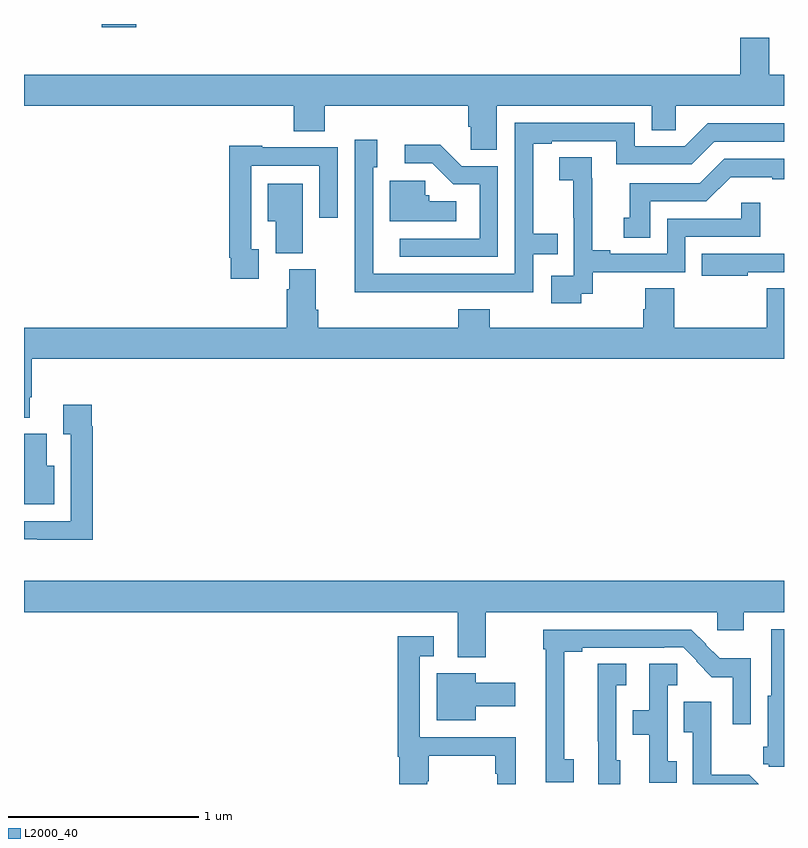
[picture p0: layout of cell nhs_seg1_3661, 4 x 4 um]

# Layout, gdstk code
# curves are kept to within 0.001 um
import gdstk
lib = gdstk.Library(unit=1e-6, precision=1e-09)
def R(c, l, rs):  # rectangles x0, y0, x1, y1
    for r in rs: c.add(gdstk.rectangle(r[:2], r[2:], *l))
def P(c, l, *ps):  # polygons
    for p in ps: c.add(gdstk.Polygon(p, *l))
L2000_40 = (2000, 40)

nhs_seg1_3661 = lib.new_cell('nhs_seg1_3661')
R(nhs_seg1_3661, L2000_40, [(311.408,516.183,311.591,516.199)])
P(nhs_seg1_3661, L2000_40, [(313.489,515.768),(314.303,515.768),(314.303,515.641),(314.43,515.641),(314.43,515.768),(315,515.768),(315,515.932),(314.923,515.932),(314.923,516.127),(314.771,516.127),(314.771,515.932),(311,515.932),(311,515.768),(312.419,515.768),(312.419,515.635),(312.584,515.635),(312.584,515.768),(313.337,515.768),(313.337,515.659),(313.35,515.659),(313.35,515.536),(313.489,515.536)],
  [(313.202,514.788),(313.68,514.788),(313.68,514.986),(313.808,514.986),(313.808,515.095),(313.681,515.095),(313.681,515.568),(313.777,515.568),(313.777,515.583),(314.118,515.583),(314.118,515.46),(314.514,515.46),(314.634,515.58),(315,515.58),(315,515.676),(314.598,515.676),(314.478,515.556),(314.214,515.556),(314.214,515.679),(313.584,515.679),(313.584,514.884),(312.837,514.884),(312.837,515.445),(312.859,515.445),(312.859,515.59),(312.741,515.59),(312.74,514.787)],
  [(313.494,515.451),(313.305,515.451),(313.192,515.564),(313.005,515.564),(313.005,515.466),(313.149,515.466),(313.26,515.355),(313.398,515.355),(313.398,515.07),(312.978,515.07),(312.978,514.974),(313.494,514.974)],
  [(312.235,515.013),(312.195,515.013),(312.195,515.454),(312.555,515.454),(312.555,515.178),(312.651,515.178),(312.651,515.55),(312.255,515.55),(312.255,515.557),(312.079,515.557),(312.079,514.969),(312.087,514.969),(312.087,514.857),(312.235,514.857)],
  [(313.932,514.779),(313.994,514.779),(313.994,514.893),(314.481,514.893),(314.481,515.079),(314.876,515.079),(314.876,515.257),(314.775,515.257),(314.775,515.175),(314.385,515.175),(314.385,514.989),(314.086,514.989),(314.086,515.009),(313.99,515.009),(313.99,515.387),(313.988,515.387),(313.988,515.498),(313.818,515.498),(313.818,515.377),(313.892,515.377),(313.892,515.179),(313.893,515.179),(313.893,514.875),(313.776,514.875),(313.776,514.728),(313.932,514.728)],
  [(314.296,515.265),(314.592,515.265),(314.72,515.393),(314.939,515.393),(314.939,515.382),(315,515.382),(315,515.49),(314.685,515.49),(314.556,515.361),(314.189,515.361),(314.189,515.178),(314.156,515.178),(314.156,515.074),(314.296,515.074)],
  [(313.276,515.266),(313.132,515.266),(313.132,515.298),(313.113,515.298),(313.113,515.373),(312.926,515.373),(312.926,515.162),(313.276,515.162)],
  [(312.466,515.359),(312.284,515.359),(312.284,515.162),(312.326,515.162),(312.326,514.993),(312.466,514.993)],
  [(314.809,514.893),(315,514.893),(315,514.989),(314.566,514.989),(314.566,514.874),(314.809,514.874)],
  [(311.029,514.234),(311.042,514.234),(311.042,514.436),(315,514.436),(315,514.808),(314.909,514.808),(314.909,514.6),(314.423,514.6),(314.423,514.808),(314.27,514.808),(314.27,514.698),(314.258,514.698),(314.258,514.6),(313.451,514.6),(313.451,514.699),(313.286,514.699),(313.286,514.6),(312.548,514.6),(312.548,514.696),(312.535,514.696),(312.535,514.908),(312.395,514.908),(312.395,514.802),(312.383,514.802),(312.383,514.6),(311,514.6),(311,514.127),(311.029,514.127)],
  [(311.363,514.082),(311.356,514.082),(311.356,514.195),(311.207,514.195),(311.207,514.039),(311.247,514.039),(311.247,513.582),(311,513.582),(311,513.486),(311.071,513.486),(311.071,513.485),(311.363,513.485)],
  [(311.158,513.874),(311.119,513.874),(311.119,514.042),(311,514.042),(311,513.671),(311.158,513.671)],
  [(313.431,513.104),(314.649,513.104),(314.649,513.009),(314.788,513.009),(314.788,513.104),(315,513.104),(315,513.268),(311,513.268),(311,513.104),(313.283,513.104),(313.283,512.867),(313.431,512.867)],
  [(315,513.013),(314.934,513.013),(314.934,512.664),(314.915,512.664),(314.915,512.394),(314.891,512.394),(314.891,512.304),(314.919,512.304),(314.919,512.289),(315,512.289)],
  [(313.894,512.328),(313.844,512.328),(313.844,512.896),(313.939,512.896),(313.939,512.916),(314.369,512.916),(314.369,512.919),(314.469,512.919),(314.541,512.847),(314.538,512.844),(314.621,512.762),(314.73,512.762),(314.73,512.514),(314.826,512.514),(314.826,512.86),(314.661,512.86),(314.588,512.933),(314.59,512.935),(314.512,513.012),(313.734,513.012),(313.734,512.909),(313.745,512.909),(313.745,512.209),(313.894,512.209)],
  [(313.123,512.214),(313.131,512.214),(313.131,512.348),(313.479,512.348),(313.479,512.252),(313.491,512.252),(313.491,512.199),(313.588,512.199),(313.588,512.445),(313.083,512.445),(313.083,512.871),(313.156,512.871),(313.156,512.977),(312.967,512.977),(312.967,512.342),(312.974,512.342),(312.974,512.199),(313.123,512.199)],
  [(314.137,512.325),(314.118,512.325),(314.118,512.72),(314.17,512.72),(314.17,512.831),(314.021,512.831),(314.021,512.425),(314.022,512.425),(314.022,512.199),(314.137,512.199)],
  [(314.435,512.318),(314.388,512.318),(314.388,512.72),(314.437,512.72),(314.437,512.831),(314.292,512.831),(314.292,512.587),(314.203,512.587),(314.203,512.458),(314.291,512.458),(314.291,512.205),(314.435,512.205)],
  [(313.378,512.609),(313.585,512.609),(313.585,512.731),(313.378,512.731),(313.378,512.782),(313.172,512.782),(313.172,512.534),(313.378,512.534)],
  [(314.818,512.249),(314.616,512.249),(314.616,512.632),(314.473,512.632),(314.473,512.471),(314.52,512.471),(314.52,512.199),(314.868,512.199)])

lib.write_gds('nhs_seg1_3661.gds')
